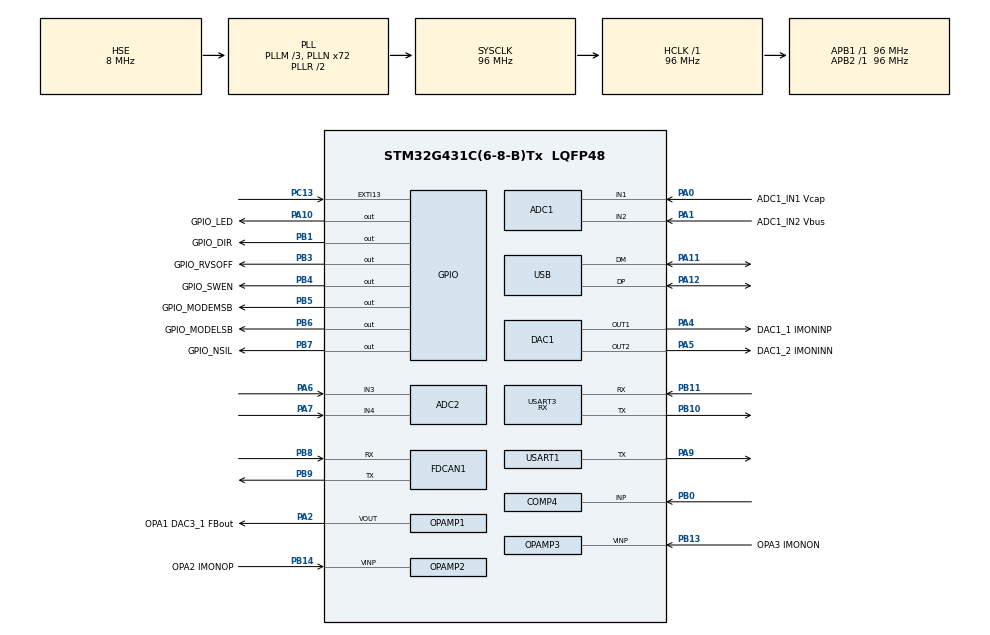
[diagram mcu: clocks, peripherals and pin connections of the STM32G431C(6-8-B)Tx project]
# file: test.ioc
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ADC1.Channel-0\#ChannelRegularConversion=ADC_CHANNEL_1
ADC1.Channel-1\#ChannelRegularConversion=ADC_CHANNEL_2
ADC1.DMAContinuousRequests=ENABLE
ADC1.EOCSelection=ADC_EOC_SINGLE_CONV
ADC1.ExternalTrigConv=ADC_EXTERNALTRIG_T2_TRGO
ADC1.NbrOfConversion=2
ADC1.NbrOfConversionFlag=1
ADC1.OffsetNumber-0\#ChannelRegularConversion=ADC_OFFSET_NONE
ADC1.OffsetNumber-1\#ChannelRegularConversion=ADC_OFFSET_NONE
ADC1.OversamplingMode=DISABLE
ADC1.Rank-0\#ChannelRegularConversion=1
ADC1.Rank-1\#ChannelRegularConversion=2
ADC1.SamplingTime-0\#ChannelRegularConversion=ADC_SAMPLETIME_92CYCLES_5
ADC1.SamplingTime-1\#ChannelRegularConversion=ADC_SAMPLETIME_92CYCLES_5
ADC1.master=1
ADC2.Channel-2\#ChannelRegularConversion=ADC_CHANNEL_3
ADC2.Channel-3\#ChannelRegularConversion=ADC_CHANNEL_VOPAMP2
ADC2.Channel-4\#ChannelRegularConversion=ADC_CHANNEL_VOPAMP3_ADC2
ADC2.DMAContinuousRequests=ENABLE
ADC2.EOCSelection=ADC_EOC_SINGLE_CONV
ADC2.ExternalTrigConv=ADC_EXTERNALTRIG_T2_TRGO
ADC2.NbrOfConversion=3
ADC2.NbrOfConversionFlag=1
ADC2.OffsetNumber-2\#ChannelRegularConversion=ADC_OFFSET_NONE
ADC2.OffsetNumber-3\#ChannelRegularConversion=ADC_OFFSET_NONE
ADC2.OffsetNumber-4\#ChannelRegularConversion=ADC_OFFSET_NONE
ADC2.Rank-2\#ChannelRegularConversion=1
ADC2.Rank-3\#ChannelRegularConversion=2
ADC2.Rank-4\#ChannelRegularConversion=3
ADC2.SamplingTime-2\#ChannelRegularConversion=ADC_SAMPLETIME_6CYCLES_5
ADC2.SamplingTime-3\#ChannelRegularConversion=ADC_SAMPLETIME_6CYCLES_5
ADC2.SamplingTime-4\#ChannelRegularConversion=ADC_SAMPLETIME_6CYCLES_5
ADC2.SingleDiff-2\#ChannelRegularConversion=ADC_DIFFERENTIAL_ENDED
DAC1.DAC_Channel-DAC_OUT2_ExtAndInt=DAC_CHANNEL_2
DAC3.DAC_Channel-DAC_OUT2_Int=DAC_CHANNEL_2
Dma.ADC1.0.Direction=DMA_PERIPH_TO_MEMORY
Dma.ADC1.0.EventEnable=DISABLE
Dma.ADC1.0.Instance=DMA1_Channel1
Dma.ADC1.0.MemDataAlignment=DMA_MDATAALIGN_HALFWORD
Dma.ADC1.0.MemInc=DMA_MINC_ENABLE
Dma.ADC1.0.Mode=DMA_CIRCULAR
Dma.ADC1.0.PeriphDataAlignment=DMA_PDATAALIGN_HALFWORD
Dma.ADC1.0.PeriphInc=DMA_PINC_DISABLE
Dma.ADC1.0.Polarity=HAL_DMAMUX_REQ_GEN_RISING
Dma.ADC1.0.Priority=DMA_PRIORITY_VERY_HIGH
Dma.ADC1.0.RequestNumber=1
Dma.ADC1.0.SignalID=NONE
Dma.ADC1.0.SyncEnable=DISABLE
Dma.ADC1.0.SyncPolarity=HAL_DMAMUX_SYNC_NO_EVENT
Dma.ADC1.0.SyncRequestNumber=1
Dma.ADC1.0.SyncSignalID=NONE
Dma.ADC2.1.Direction=DMA_PERIPH_TO_MEMORY
Dma.ADC2.1.EventEnable=DISABLE
Dma.ADC2.1.Instance=DMA1_Channel2
Dma.ADC2.1.MemDataAlignment=DMA_MDATAALIGN_HALFWORD
Dma.ADC2.1.MemInc=DMA_MINC_ENABLE
Dma.ADC2.1.Mode=DMA_CIRCULAR
Dma.ADC2.1.PeriphDataAlignment=DMA_PDATAALIGN_HALFWORD
Dma.ADC2.1.PeriphInc=DMA_PINC_DISABLE
Dma.ADC2.1.Polarity=HAL_DMAMUX_REQ_GEN_RISING
Dma.ADC2.1.Priority=DMA_PRIORITY_VERY_HIGH
Dma.ADC2.1.RequestNumber=1
Dma.ADC2.1.SignalID=NONE
Dma.ADC2.1.SyncEnable=DISABLE
Dma.ADC2.1.SyncPolarity=HAL_DMAMUX_SYNC_NO_EVENT
Dma.ADC2.1.SyncRequestNumber=1
Dma.ADC2.1.SyncSignalID=NONE
Dma.Request0=ADC1
Dma.Request1=ADC2
Dma.Request2=USART3_RX
Dma.Request3=USART1_TX
Dma.USART1_TX.3.Direction=DMA_MEMORY_TO_PERIPH
Dma.USART1_TX.3.EventEnable=DISABLE
Dma.USART1_TX.3.Instance=DMA1_Channel4
Dma.USART1_TX.3.MemDataAlignment=DMA_MDATAALIGN_BYTE
Dma.USART1_TX.3.MemInc=DMA_MINC_ENABLE
Dma.USART1_TX.3.Mode=DMA_NORMAL
Dma.USART1_TX.3.PeriphDataAlignment=DMA_PDATAALIGN_BYTE
Dma.USART1_TX.3.PeriphInc=DMA_PINC_DISABLE
Dma.USART1_TX.3.Polarity=HAL_DMAMUX_REQ_GEN_RISING
Dma.USART1_TX.3.Priority=DMA_PRIORITY_LOW
Dma.USART1_TX.3.RequestNumber=1
Dma.USART1_TX.3.SignalID=NONE
Dma.USART1_TX.3.SyncEnable=DISABLE
Dma.USART1_TX.3.SyncPolarity=HAL_DMAMUX_SYNC_NO_EVENT
Dma.USART1_TX.3.SyncRequestNumber=1
Dma.USART1_TX.3.SyncSignalID=NONE
Dma.USART3_RX.2.Direction=DMA_PERIPH_TO_MEMORY
Dma.USART3_RX.2.EventEnable=DISABLE
Dma.USART3_RX.2.Instance=DMA1_Channel3
Dma.USART3_RX.2.MemDataAlignment=DMA_MDATAALIGN_BYTE
Dma.USART3_RX.2.MemInc=DMA_MINC_ENABLE
Dma.USART3_RX.2.Mode=DMA_CIRCULAR
Dma.USART3_RX.2.PeriphDataAlignment=DMA_PDATAALIGN_BYTE
Dma.USART3_RX.2.PeriphInc=DMA_PINC_DISABLE
Dma.USART3_RX.2.Polarity=HAL_DMAMUX_REQ_GEN_RISING
Dma.USART3_RX.2.Priority=DMA_PRIORITY_MEDIUM
Dma.USART3_RX.2.RequestNumber=1
Dma.USART3_RX.2.SignalID=NONE
Dma.USART3_RX.2.SyncEnable=DISABLE
Dma.USART3_RX.2.SyncPolarity=HAL_DMAMUX_SYNC_NO_EVENT
Dma.USART3_RX.2.SyncRequestNumber=1
Dma.USART3_RX.2.SyncSignalID=NONE
FDCAN1.CalculateBaudRateNominal=1000000
FDCAN1.CalculateTimeBitNominal=1000
FDCAN1.CalculateTimeQuantumNominal=62.5
FDCAN1.NominalPrescaler=6
FDCAN1.NominalSyncJumpWidth=2
FDCAN1.NominalTimeSeg1=13
FDCAN1.NominalTimeSeg2=2
FDCAN1.StdFiltersNbr=1
FREERTOS.MEMORY_ALLOCATION=1
FREERTOS.Tasks01=defaultTask,0,128,StartDefaultTask,Default,NULL,Static,defaultTaskBuffer,defaultTaskControlBlock;usbCDCTxTask,0,256,StartUsbCDCTxTask,Default,NULL,Static,usbCDCTxTaskBuffer,usbCDCTxTaskControlBlock;telemetryTask,0,512,StartTelemetryTask,Default,NULL,Static,telemetryTaskBuffer,telemetryTaskControlBlock;slowAdcTask,-2,128,StartSlowAdcTask,Default,NULL,Static,myTask04Buffer,myTask04ControlBlock;cliTask,-2,2048,StartCliTask,Default,NULL,Static,myTask05Buffer,myTask05ControlBlock;uartParsingTask,0,256,StartUartParsingTask,Default,NULL,Static,myTask06Buffer,myTask06ControlBlock
IWDG.Reload=399
Mcu.Family=STM32G4
Mcu.Name=STM32G431C(6-8-B)Tx
Mcu.Package=LQFP48
NVIC.DMA1_Channel1_IRQn=true\:5\:0\:true\:false\:true\:true\:false\:true\:true
NVIC.DMA1_Channel2_IRQn=true\:5\:0\:false\:false\:true\:true\:false\:true\:true
NVIC.DMA1_Channel3_IRQn=true\:7\:0\:true\:false\:true\:true\:false\:true\:true
NVIC.DMA1_Channel4_IRQn=true\:5\:0\:false\:false\:true\:true\:false\:true\:true
NVIC.EXTI15_10_IRQn=true\:6\:0\:true\:false\:true\:true\:true\:true\:true
NVIC.FDCAN1_IT0_IRQn=true\:6\:0\:true\:false\:true\:true\:true\:true\:true
NVIC.PriorityGroup=NVIC_PRIORITYGROUP_4
NVIC.TIM1_UP_TIM16_IRQn=true\:15\:0\:false\:false\:true\:false\:false\:true\:true
NVIC.TimeBase=TIM1_UP_TIM16_IRQn
NVIC.TimeBaseIP=TIM1
NVIC.USART1_IRQn=true\:5\:0\:false\:false\:true\:true\:true\:true\:true
NVIC.USART3_IRQn=true\:7\:0\:true\:false\:true\:true\:true\:true\:true
NVIC.USB_LP_IRQn=true\:6\:0\:true\:false\:true\:true\:false\:true\:true
PA0.GPIO_Label=ADC1_IN1 Vcap
PA0.Mode=IN1-Single-Ended
PA0.Signal=ADC1_IN1
PA1.GPIO_Label=ADC1_IN2 Vbus
PA1.Mode=IN2-Single-Ended
PA1.Signal=ADC1_IN2
PA10.GPIO_Label=GPIO_LED
PA10.PinState=GPIO_PIN_RESET
PA10.Signal=GPIO_Output
PA11.Mode=Device
PA11.Signal=USB_DM
PA12.Mode=Device
PA12.Signal=USB_DP
PA13.Mode=Serial_Wire
PA13.Signal=SYS_JTMS-SWDIO
PA14.Mode=Serial_Wire
PA14.Signal=SYS_JTCK-SWCLK
PA2.GPIO_Label=OPA1 DAC3_1 FBout
PA2.Mode=Follower-DAC_OUT2-INP
PA2.Signal=OPAMP1_VOUT
PA4.GPIO_Label=DAC1_1 IMONINP
PA4.Signal=COMP_DAC11_group
PA5.GPIO_Label=DAC1_2 IMONINN
PA5.Signal=COMP_DAC12_group
PA6.Mode=IN3-Differential
PA6.Signal=ADC2_IN3
PA7.Mode=IN3-Differential
PA7.Signal=ADC2_IN4
PA9.GPIO_ModeDefaultOD=GPIO_MODE_AF_OD
PA9.GPIO_PuPd=GPIO_PULLUP
PA9.GPIO_Speed=GPIO_SPEED_FREQ_MEDIUM
PA9.Mode=Half_duplex(single_wire_mode)
PA9.Signal=USART1_TX
PB0.Mode=INP
PB0.Signal=COMP4_INP
PB1.GPIO_Label=GPIO_DIR
PB1.GPIO_Speed=GPIO_SPEED_FREQ_HIGH
PB1.PinState=GPIO_PIN_SET
PB1.Signal=GPIO_Output
PB10.Mode=Asynchronous
PB10.Signal=USART3_TX
PB11.Mode=Asynchronous
PB11.Signal=USART3_RX
PB13.GPIO_Label=OPA3 IMONON
PB13.Mode=PGA_Internally_Connected
PB13.Signal=OPAMP3_VINP
PB14.GPIO_Label=OPA2 IMONOP
PB14.Mode=PGA_Internally_Connected
PB14.Signal=OPAMP2_VINP
PB3.GPIO_Label=GPIO_RVSOFF
PB3.GPIO_ModeDefaultOutputPP=GPIO_MODE_OUTPUT_OD
PB3.GPIO_PuPd=GPIO_NOPULL
PB3.PinState=GPIO_PIN_SET
PB3.Signal=GPIO_Output
PB4.GPIO_Label=GPIO_SWEN
PB4.Signal=GPIO_Output
PB5.GPIO_Label=GPIO_MODEMSB
PB5.Signal=GPIO_Output
PB6.GPIO_Label=GPIO_MODELSB
PB6.PinState=GPIO_PIN_SET
PB6.Signal=GPIO_Output
PB7.GPIO_Label=GPIO_NSIL
PB7.PinState=GPIO_PIN_SET
PB7.Signal=GPIO_Output
PB8-BOOT0.Mode=FDCAN_Activate
PB8-BOOT0.Signal=FDCAN1_RX
PB9.Mode=FDCAN_Activate
PB9.Signal=FDCAN1_TX
PC13.GPIO_PuPd=GPIO_PULLDOWN
PC13.Signal=GPXTI13
PF0-OSC_IN.Mode=HSE-External-Oscillator
PF0-OSC_IN.Signal=RCC_OSC_IN
PF1-OSC_OUT.Mode=HSE-External-Oscillator
PF1-OSC_OUT.Signal=RCC_OSC_OUT
ProjectManager.HeapSize=0x200
ProjectManager.StackSize=0x400
ProjectManager.TargetToolchain=CMake
RCC.ADC12Freq_Value=96000000
RCC.AHBFreq_Value=96000000
RCC.APB1Freq_Value=96000000
RCC.APB1TimFreq_Value=96000000
RCC.APB2Freq_Value=96000000
RCC.APB2TimFreq_Value=96000000
RCC.CortexFreq_Value=96000000
RCC.EXTERNAL_CLOCK_VALUE=12288000
RCC.HCLKFreq_Value=96000000
RCC.HSE_VALUE=8000000
RCC.HSI48_VALUE=48000000
RCC.HSI_VALUE=16000000
RCC.LSE_VALUE=32768
RCC.PLLM=RCC_PLLM_DIV3
RCC.PLLN=72
RCC.PLLQ=RCC_PLLQ_DIV4
RCC.PLLSourceVirtual=RCC_PLLSOURCE_HSE
RCC.SYSCLKFreq_VALUE=96000000
RCC.SYSCLKSource=RCC_SYSCLKSOURCE_PLLCLK
RCC.USBFreq_Value=48000000
RCC.VCOOutputFreq_Value=192000000
SH.COMP_DAC11_group.0=DAC1_OUT1,DAC_OUT1_ExtAndInt
SH.COMP_DAC12_group.0=DAC1_OUT2,DAC_OUT2_ExtAndInt
TIM2.Channel-PWM\ Generation2\ No\ Output=TIM_CHANNEL_2
TIM2.OC2Preload_PWM=DISABLE
TIM2.PeriodNoDither=1919
TIM2.PulseNoDither_2=1
TIM2.TIM_MasterOutputTrigger=TIM_TRGO_OC2REF
USART1.BaudRate=921600
USART1.Mode=MODE_TX
USART1.VirtualMode-Half_duplex(single_wire_mode)=VM_ASYNC
USART3.Mode=MODE_RX
USART3.VirtualMode-Asynchronous=VM_ASYNC
USB_DEVICE.CLASS_NAME_FS=CDC
USB_DEVICE.USBD_DEBUG_LEVEL=0
USB_DEVICE.USBD_MAX_NUM_CONFIGURATION=1
USB_DEVICE.USBD_MAX_NUM_INTERFACES=1
USB_DEVICE.VirtualMode=Cdc
USB_DEVICE.VirtualModeFS=Cdc_FS
VP_ADC2_OPAMP_INTERNAL2.Mode=IN-OPAMP2
VP_ADC2_OPAMP_INTERNAL3.Mode=IN-OPAMP3
VP_COMP4_VS_DAC3OUT2.Mode=INM_DAC3OUT2
VP_DAC3_VS_DACI1.Mode=DAC_OUT1_Int
VP_DAC3_VS_DACI2.Mode=DAC_OUT2_Int
VP_FREERTOS_VS_CMSIS_V1.Mode=CMSIS_V1
VP_IWDG_VS_IWDG.Mode=IWDG_Activate
VP_SYS_VS_DBSignals.Mode=DisableDeadBatterySignals
VP_SYS_VS_tim1.Mode=TIM1
VP_SYS_V_VREFBUF.Mode=ExternalMode
VP_TIM2_VS_ClockSourceINT.Mode=Internal
VP_TIM2_VS_no_output2.Mode=PWM Generation2 No Output
VP_USB_DEVICE_VS_USB_DEVICE_CDC_FS.Mode=CDC_FS
board=custom

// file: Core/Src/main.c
/* USER CODE BEGIN Header */
/**
  ******************************************************************************
  * @file           : main.c
  * @brief          : Main program body
  ******************************************************************************
  * @attention
  *
  * Copyright (c) 2026 STMicroelectronics.
  * All rights reserved.
  *
  * This software is licensed under terms that can be found in the LICENSE file
  * in the root directory of this software component.
  * If no LICENSE file comes with this software, it is provided AS-IS.
  *
  ******************************************************************************
  */
/* USER CODE END Header */
#include "main.h"
#include "cmsis_os.h"
#include "usb_device.h"

/* USER CODE BEGIN Includes */
#include <stdbool.h>
#include <stdio.h>

#include "task_dbg_over_usb.h"
#include "usb_cli.h"
#include "app_constants.h"
#include "can_protocol.h"
#include "capacitor_monitor.h"
#include "command_inputs.h"
#include "shared_state.h"
#include "telemetry_uart.h"
#include "telemetry_slow_adc_task.h"
#include "referee_uart.h"
#include "nvm_eeprom.h"
#include "stm32g4xx_ll_dac.h"
#include "scap_io_owner.h"
#include "app_watchdog.h"

/* USER CODE END Includes */

ADC_HandleTypeDef hadc1;
ADC_HandleTypeDef hadc2;
DMA_HandleTypeDef hdma_adc1;
DMA_HandleTypeDef hdma_adc2;

COMP_HandleTypeDef hcomp4;

DAC_HandleTypeDef hdac1;
DAC_HandleTypeDef hdac3;

FDCAN_HandleTypeDef hfdcan1;

IWDG_HandleTypeDef hiwdg;

OPAMP_HandleTypeDef hopamp1;
OPAMP_HandleTypeDef hopamp2;
OPAMP_HandleTypeDef hopamp3;

TIM_HandleTypeDef htim2;

UART_HandleTypeDef huart1;
UART_HandleTypeDef huart3;
DMA_HandleTypeDef hdma_usart1_tx;
DMA_HandleTypeDef hdma_usart3_rx;

osThreadId defaultTaskHandle;
uint32_t defaultTaskBuffer[ 128 ];
osStaticThreadDef_t defaultTaskControlBlock;
osThreadId usbCDCTxTaskHandle;
uint32_t usbCDCTxTaskBuffer[ 256 ];
osStaticThreadDef_t usbCDCTxTaskControlBlock;
osThreadId telemetryTaskHandle;
uint32_t telemetryTaskBuffer[ 512 ];
osStaticThreadDef_t telemetryTaskControlBlock;
osThreadId slowAdcTaskHandle;
uint32_t myTask04Buffer[ 128 ];
osStaticThreadDef_t myTask04ControlBlock;
osThreadId cliTaskHandle;
uint32_t myTask05Buffer[ 2048 ];
osStaticThreadDef_t myTask05ControlBlock;
osThreadId uartParsingTaskHandle;
uint32_t myTask06Buffer[ 256 ];
osStaticThreadDef_t myTask06ControlBlock;

void SystemClock_Config(void);
static void MX_GPIO_Init(void);
static void MX_DMA_Init(void);
static void MX_ADC1_Init(void);
static void MX_ADC2_Init(void);
static void MX_FDCAN1_Init(void);
static void MX_DAC1_Init(void);
static void MX_DAC3_Init(void);
static void MX_OPAMP1_Init(void);
static void MX_OPAMP2_Init(void);
static void MX_OPAMP3_Init(void);
static void MX_COMP4_Init(void);
static void MX_TIM2_Init(void);
static void MX_USART3_UART_Init(void);
static void MX_USART1_UART_Init(void);
static void MX_IWDG_Init(void);
void StartDefaultTask(void const * argument);
void StartUsbCDCTxTask(void const * argument);
void StartTelemetryTask(void const * argument);
void StartSlowAdcTask(void const * argument);
void StartCliTask(void const * argument);
void StartUartParsingTask(void const * argument);

/* USER CODE BEGIN 0 */
static void CycleCountWatchdog_Init(void)
{
  CoreDebug->DEMCR |= CoreDebug_DEMCR_TRCENA_Msk;
  DWT->CYCCNT = 0U;
  DWT->CTRL |= DWT_CTRL_CYCCNTENA_Msk;
}

static void AppDac3_InitDefaults(void)
{
  (void)HAL_DAC_SetValue(&hdac3, DAC_CHANNEL_1, DAC_ALIGN_12B_R, DAC3_CH1_BOOT_U12);
  (void)HAL_DAC_SetValue(&hdac3, DAC_CHANNEL_2, DAC_ALIGN_12B_R, DAC3_CH2_BOOT_U12);
  (void)HAL_DAC_SetValue(&hdac1, DAC_CHANNEL_1, DAC_ALIGN_12B_R, 2500u);
  (void)HAL_DAC_SetValue(&hdac1, DAC_CHANNEL_2, DAC_ALIGN_12B_R, 2500u);
}

/* USER CODE END 0 */

int main(void)
{

  /* USER CODE BEGIN 1 */
  const bool was_iwdg_reset = (__HAL_RCC_GET_FLAG(RCC_FLAG_IWDGRST) != RESET);
  __HAL_RCC_CLEAR_RESET_FLAGS();
  if (was_iwdg_reset){while (1){}}//hang forever
  /* USER CODE END 1 */

  /* MCU Configuration--------------------------------------------------------*/

  /* Reset of all peripherals, Initializes the Flash interface and the Systick. */
  HAL_Init();

  /* Configure the system clock */
  SystemClock_Config();

  /* USER CODE BEGIN SysInit */
  (void)NvmEeprom_Init();
  AppConstants_InitFromNvm();

  /* USER CODE END SysInit */

  /* Initialize all configured peripherals */
  MX_GPIO_Init();
  MX_DMA_Init();
  MX_ADC1_Init();
  MX_ADC2_Init();
  MX_FDCAN1_Init();
  MX_DAC1_Init();
  MX_DAC3_Init();
  MX_OPAMP1_Init();
  MX_OPAMP2_Init();
  MX_OPAMP3_Init();
  MX_COMP4_Init();
  MX_TIM2_Init();
  MX_USART3_UART_Init();
  MX_USART1_UART_Init();
  MX_IWDG_Init();
  /* USER CODE BEGIN 2 */
  AppWatchdog_Init(&hiwdg);
  CapacitorMonitor_Init();
  ScapIo_Init();
  CycleCountWatchdog_Init();
  DbgUsb_Init();
  TelemetryUart_Init(&huart1);
  UsbCli_Init();
#if USE_HAL_FDCAN_REGISTER_CALLBACKS == 1
  if (HAL_FDCAN_RegisterRxFifo0Callback(&hfdcan1, HAL_FDCAN_RxFifo0Callback) != HAL_OK)
  {
    Error_Handler();
  }
#endif
  if (HAL_FDCAN_ConfigInterruptLines(&hfdcan1, FDCAN_IT_GROUP_RX_FIFO0, FDCAN_INTERRUPT_LINE0) != HAL_OK)
  {
    Error_Handler();
  }
  if (HAL_FDCAN_ConfigInterruptLines(&hfdcan1, FDCAN_IT_GROUP_PROTOCOL_ERROR, FDCAN_INTERRUPT_LINE0) != HAL_OK)
  {
    Error_Handler();
  }
  if (HAL_FDCAN_ActivateNotification(&hfdcan1,
                                      FDCAN_IT_RX_FIFO0_NEW_MESSAGE | FDCAN_IT_BUS_OFF,
                                      0u) != HAL_OK)
  {
    Error_Handler();
  }
  if (HAL_FDCAN_Start(&hfdcan1) != HAL_OK)
  {
    Error_Handler();
  }
  if (HAL_DAC_Start(&hdac1, DAC_CHANNEL_1) != HAL_OK)
  {
    Error_Handler();
  }
  if (HAL_DAC_Start(&hdac1, DAC_CHANNEL_2) != HAL_OK)
  {
    Error_Handler();
  }
  if (HAL_DAC_Start(&hdac3, DAC_CHANNEL_1) != HAL_OK)
  {
    Error_Handler();
  }
  if (HAL_DAC_Start(&hdac3, DAC_CHANNEL_2) != HAL_OK)
  {
    Error_Handler();
  }
  AppDac3_InitDefaults();
  if (HAL_OPAMP_Start(&hopamp1) != HAL_OK)
  {
    Error_Handler();
  }
  if (HAL_OPAMP_Start(&hopamp2) != HAL_OK)
  {
    Error_Handler();
  }
  if (HAL_OPAMP_Start(&hopamp3) != HAL_OK)
  {
    Error_Handler();
  }
  if (HAL_COMP_Start(&hcomp4) != HAL_OK)
  {
    Error_Handler();
  }

  if (HAL_ADCEx_Calibration_Start(&hadc1, ADC_SINGLE_ENDED) != HAL_OK)
  {
    Error_Handler();
  }
  if (HAL_ADCEx_Calibration_Start(&hadc2, ADC_SINGLE_ENDED) != HAL_OK)
  {
    Error_Handler();
  }
  if (HAL_ADCEx_Calibration_Start(&hadc2, ADC_DIFFERENTIAL_ENDED) != HAL_OK)
  {
    Error_Handler();
  }

  if (HAL_ADC_Start_DMA(&hadc2, (uint32_t *)g_adc2_dma_buf, 3) != HAL_OK)
  {
    Error_Handler();
  }
  __HAL_DMA_DISABLE_IT(&hdma_adc2, DMA_IT_TC | DMA_IT_HT);
  HAL_NVIC_ClearPendingIRQ(DMA1_Channel2_IRQn);
  HAL_NVIC_DisableIRQ(DMA1_Channel2_IRQn);

  if (HAL_ADC_Start_DMA(&hadc1, (uint32_t *)g_adc1_dma_buf, 2) != HAL_OK)
  {
    Error_Handler();
  }
  __HAL_DMA_DISABLE_IT(&hdma_adc1, DMA_IT_HT);

  if (HAL_TIM_Base_Start(&htim2) != HAL_OK)
  {
    Error_Handler();
  }
  if (HAL_TIM_PWM_Start(&htim2, TIM_CHANNEL_2) != HAL_OK)
  {
    Error_Handler();
  }

  /* USER CODE END 2 */

  /* Create the thread(s) */
  /* definition and creation of defaultTask */
  osThreadStaticDef(defaultTask, StartDefaultTask, osPriorityNormal, 0, 128, defaultTaskBuffer, &defaultTaskControlBlock);
  defaultTaskHandle = osThreadCreate(osThread(defaultTask), NULL);

  /* definition and creation of usbCDCTxTask */
  osThreadStaticDef(usbCDCTxTask, StartUsbCDCTxTask, osPriorityNormal, 0, 256, usbCDCTxTaskBuffer, &usbCDCTxTaskControlBlock);
  usbCDCTxTaskHandle = osThreadCreate(osThread(usbCDCTxTask), NULL);

  /* definition and creation of telemetryTask */
  osThreadStaticDef(telemetryTask, StartTelemetryTask, osPriorityNormal, 0, 512, telemetryTaskBuffer, &telemetryTaskControlBlock);
  telemetryTaskHandle = osThreadCreate(osThread(telemetryTask), NULL);

  /* definition and creation of slowAdcTask */
  osThreadStaticDef(slowAdcTask, StartSlowAdcTask, osPriorityLow, 0, 128, myTask04Buffer, &myTask04ControlBlock);
  slowAdcTaskHandle = osThreadCreate(osThread(slowAdcTask), NULL);

  /* definition and creation of cliTask */
  osThreadStaticDef(cliTask, StartCliTask, osPriorityLow, 0, 2048, myTask05Buffer, &myTask05ControlBlock);
  cliTaskHandle = osThreadCreate(osThread(cliTask), NULL);

  /* definition and creation of uartParsingTask */
  osThreadStaticDef(uartParsingTask, StartUartParsingTask, osPriorityNormal, 0, 256, myTask06Buffer, &myTask06ControlBlock);
  uartParsingTaskHandle = osThreadCreate(osThread(uartParsingTask), NULL);

  /* USER CODE BEGIN RTOS_THREADS */
  AppWatchdog_RefreshBeforeScheduler();
  /* USER CODE END RTOS_THREADS */

  /* Start scheduler */
  osKernelStart();

  /* We should never get here as control is now taken by the scheduler */

  /* Infinite loop */
  while (1)
  {

  }
}

void SystemClock_Config(void)
{
  RCC_OscInitTypeDef RCC_OscInitStruct = {0};
  RCC_ClkInitTypeDef RCC_ClkInitStruct = {0};

  /** Configure the main internal regulator output voltage
  */
  HAL_PWREx_ControlVoltageScaling(PWR_REGULATOR_VOLTAGE_SCALE1);

  /** Initializes the RCC Oscillators according to the specified parameters
  * in the RCC_OscInitTypeDef structure.
  */
  RCC_OscInitStruct.OscillatorType = RCC_OSCILLATORTYPE_LSI|RCC_OSCILLATORTYPE_HSE;
  RCC_OscInitStruct.HSEState = RCC_HSE_ON;
  RCC_OscInitStruct.LSIState = RCC_LSI_ON;
  RCC_OscInitStruct.PLL.PLLState = RCC_PLL_ON;
  RCC_OscInitStruct.PLL.PLLSource = RCC_PLLSOURCE_HSE;
  RCC_OscInitStruct.PLL.PLLM = RCC_PLLM_DIV3;
  RCC_OscInitStruct.PLL.PLLN = 72;
  RCC_OscInitStruct.PLL.PLLP = RCC_PLLP_DIV2;
  RCC_OscInitStruct.PLL.PLLQ = RCC_PLLQ_DIV4;
  RCC_OscInitStruct.PLL.PLLR = RCC_PLLR_DIV2;
  if (HAL_RCC_OscConfig(&RCC_OscInitStruct) != HAL_OK)
  {
    Error_Handler();
  }

  /** Initializes the CPU, AHB and APB buses clocks
  */
  RCC_ClkInitStruct.ClockType = RCC_CLOCKTYPE_HCLK|RCC_CLOCKTYPE_SYSCLK
                              |RCC_CLOCKTYPE_PCLK1|RCC_CLOCKTYPE_PCLK2;
  RCC_ClkInitStruct.SYSCLKSource = RCC_SYSCLKSOURCE_PLLCLK;
  RCC_ClkInitStruct.AHBCLKDivider = RCC_SYSCLK_DIV1;
  RCC_ClkInitStruct.APB1CLKDivider = RCC_HCLK_DIV1;
  RCC_ClkInitStruct.APB2CLKDivider = RCC_HCLK_DIV1;

  if (HAL_RCC_ClockConfig(&RCC_ClkInitStruct, FLASH_LATENCY_3) != HAL_OK)
  {
    Error_Handler();
  }
}

static void MX_ADC1_Init(void)
{

  ADC_MultiModeTypeDef multimode = {0};
  ADC_ChannelConfTypeDef sConfig = {0};

  /** Common config
  */
  hadc1.Instance = ADC1;
  hadc1.Init.ClockPrescaler = ADC_CLOCK_SYNC_PCLK_DIV2;
  hadc1.Init.Resolution = ADC_RESOLUTION_12B;
  hadc1.Init.DataAlign = ADC_DATAALIGN_RIGHT;
  hadc1.Init.GainCompensation = 0;
  hadc1.Init.ScanConvMode = ADC_SCAN_ENABLE;
  hadc1.Init.EOCSelection = ADC_EOC_SINGLE_CONV;
  hadc1.Init.LowPowerAutoWait = DISABLE;
  hadc1.Init.ContinuousConvMode = DISABLE;
  hadc1.Init.NbrOfConversion = 2;
  hadc1.Init.DiscontinuousConvMode = DISABLE;
  hadc1.Init.ExternalTrigConv = ADC_EXTERNALTRIG_T2_TRGO;
  hadc1.Init.ExternalTrigConvEdge = ADC_EXTERNALTRIGCONVEDGE_RISING;
  hadc1.Init.DMAContinuousRequests = ENABLE;
  hadc1.Init.Overrun = ADC_OVR_DATA_PRESERVED;
  hadc1.Init.OversamplingMode = DISABLE;
  if (HAL_ADC_Init(&hadc1) != HAL_OK)
  {
    Error_Handler();
  }

  /** Configure the ADC multi-mode
  */
  multimode.Mode = ADC_MODE_INDEPENDENT;
  if (HAL_ADCEx_MultiModeConfigChannel(&hadc1, &multimode) != HAL_OK)
  {
    Error_Handler();
  }

  /** Configure Regular Channel
  */
  sConfig.Channel = ADC_CHANNEL_1;
  sConfig.Rank = ADC_REGULAR_RANK_1;
  sConfig.SamplingTime = ADC_SAMPLETIME_92CYCLES_5;
  sConfig.SingleDiff = ADC_SINGLE_ENDED;
  sConfig.OffsetNumber = ADC_OFFSET_NONE;
  sConfig.Offset = 0;
  if (HAL_ADC_ConfigChannel(&hadc1, &sConfig) != HAL_OK)
  {
    Error_Handler();
  }

  /** Configure Regular Channel
  */
  sConfig.Channel = ADC_CHANNEL_2;
  sConfig.Rank = ADC_REGULAR_RANK_2;
  if (HAL_ADC_ConfigChannel(&hadc1, &sConfig) != HAL_OK)
  {
    Error_Handler();
  }

}

static void MX_ADC2_Init(void)
{

  ADC_ChannelConfTypeDef sConfig = {0};

  /** Common config
  */
  hadc2.Instance = ADC2;
  hadc2.Init.ClockPrescaler = ADC_CLOCK_SYNC_PCLK_DIV2;
  hadc2.Init.Resolution = ADC_RESOLUTION_12B;
  hadc2.Init.DataAlign = ADC_DATAALIGN_RIGHT;
  hadc2.Init.GainCompensation = 0;
  hadc2.Init.ScanConvMode = ADC_SCAN_ENABLE;
  hadc2.Init.EOCSelection = ADC_EOC_SINGLE_CONV;
  hadc2.Init.LowPowerAutoWait = DISABLE;
  hadc2.Init.ContinuousConvMode = DISABLE;
  hadc2.Init.NbrOfConversion = 3;
  hadc2.Init.DiscontinuousConvMode = DISABLE;
  hadc2.Init.ExternalTrigConv = ADC_EXTERNALTRIG_T2_TRGO;
  hadc2.Init.ExternalTrigConvEdge = ADC_EXTERNALTRIGCONVEDGE_RISING;
  hadc2.Init.DMAContinuousRequests = ENABLE;
  hadc2.Init.Overrun = ADC_OVR_DATA_PRESERVED;
  hadc2.Init.OversamplingMode = DISABLE;
  if (HAL_ADC_Init(&hadc2) != HAL_OK)
  {
    Error_Handler();
  }

  /** Configure Regular Channel
  */
  sConfig.Channel = ADC_CHANNEL_3;
  sConfig.Rank = ADC_REGULAR_RANK_1;
  sConfig.SamplingTime = ADC_SAMPLETIME_6CYCLES_5;
  sConfig.SingleDiff = ADC_DIFFERENTIAL_ENDED;
  sConfig.OffsetNumber = ADC_OFFSET_NONE;
  sConfig.Offset = 0;
  if (HAL_ADC_ConfigChannel(&hadc2, &sConfig) != HAL_OK)
  {
    Error_Handler();
  }

  /** Configure Regular Channel
  */
  sConfig.Channel = ADC_CHANNEL_VOPAMP2;
  sConfig.Rank = ADC_REGULAR_RANK_2;
  sConfig.SingleDiff = ADC_SINGLE_ENDED;
  if (HAL_ADC_ConfigChannel(&hadc2, &sConfig) != HAL_OK)
  {
    Error_Handler();
  }

  /** Configure Regular Channel
  */
  sConfig.Channel = ADC_CHANNEL_VOPAMP3_ADC2;
  sConfig.Rank = ADC_REGULAR_RANK_3;
  if (HAL_ADC_ConfigChannel(&hadc2, &sConfig) != HAL_OK)
  {
    Error_Handler();
  }

}

static void MX_COMP4_Init(void)
{

  hcomp4.Instance = COMP4;
  hcomp4.Init.InputPlus = COMP_INPUT_PLUS_IO1;
  hcomp4.Init.InputMinus = COMP_INPUT_MINUS_DAC3_CH2;
  hcomp4.Init.OutputPol = COMP_OUTPUTPOL_NONINVERTED;
  hcomp4.Init.Hysteresis = COMP_HYSTERESIS_NONE;
  hcomp4.Init.BlankingSrce = COMP_BLANKINGSRC_NONE;
  hcomp4.Init.TriggerMode = COMP_TRIGGERMODE_NONE;
  if (HAL_COMP_Init(&hcomp4) != HAL_OK)
  {
    Error_Handler();
  }

}

static void MX_DAC1_Init(void)
{

  DAC_ChannelConfTypeDef sConfig = {0};

  /** DAC Initialization
  */
  hdac1.Instance = DAC1;
  if (HAL_DAC_Init(&hdac1) != HAL_OK)
  {
    Error_Handler();
  }

  /** DAC channel OUT1 config
  */
  sConfig.DAC_HighFrequency = DAC_HIGH_FREQUENCY_INTERFACE_MODE_AUTOMATIC;
  sConfig.DAC_DMADoubleDataMode = DISABLE;
  sConfig.DAC_SignedFormat = DISABLE;
  sConfig.DAC_SampleAndHold = DAC_SAMPLEANDHOLD_DISABLE;
  sConfig.DAC_Trigger = DAC_TRIGGER_NONE;
  sConfig.DAC_Trigger2 = DAC_TRIGGER_NONE;
  sConfig.DAC_OutputBuffer = DAC_OUTPUTBUFFER_ENABLE;
  sConfig.DAC_ConnectOnChipPeripheral = DAC_CHIPCONNECT_BOTH;
  sConfig.DAC_UserTrimming = DAC_TRIMMING_FACTORY;
  if (HAL_DAC_ConfigChannel(&hdac1, &sConfig, DAC_CHANNEL_1) != HAL_OK)
  {
    Error_Handler();
  }

  /** DAC channel OUT2 config
  */
  if (HAL_DAC_ConfigChannel(&hdac1, &sConfig, DAC_CHANNEL_2) != HAL_OK)
  {
    Error_Handler();
  }

}

static void MX_DAC3_Init(void)
{

  DAC_ChannelConfTypeDef sConfig = {0};

  /** DAC Initialization
  */
  hdac3.Instance = DAC3;
  if (HAL_DAC_Init(&hdac3) != HAL_OK)
  {
    Error_Handler();
  }

  /** DAC channel OUT1 config
  */
  sConfig.DAC_HighFrequency = DAC_HIGH_FREQUENCY_INTERFACE_MODE_AUTOMATIC;
  sConfig.DAC_DMADoubleDataMode = DISABLE;
  sConfig.DAC_SignedFormat = DISABLE;
  sConfig.DAC_SampleAndHold = DAC_SAMPLEANDHOLD_DISABLE;
  sConfig.DAC_Trigger = DAC_TRIGGER_NONE;
  sConfig.DAC_Trigger2 = DAC_TRIGGER_NONE;
  sConfig.DAC_OutputBuffer = DAC_OUTPUTBUFFER_DISABLE;
  sConfig.DAC_ConnectOnChipPeripheral = DAC_CHIPCONNECT_INTERNAL;
  sConfig.DAC_UserTrimming = DAC_TRIMMING_FACTORY;
  if (HAL_DAC_ConfigChannel(&hdac3, &sConfig, DAC_CHANNEL_1) != HAL_OK)
  {
    Error_Handler();
  }

  /** DAC channel OUT2 config
  */
  if (HAL_DAC_ConfigChannel(&hdac3, &sConfig, DAC_CHANNEL_2) != HAL_OK)
  {
    Error_Handler();
  }

}

static void MX_FDCAN1_Init(void)
{

  hfdcan1.Instance = FDCAN1;
  hfdcan1.Init.ClockDivider = FDCAN_CLOCK_DIV1;
  hfdcan1.Init.FrameFormat = FDCAN_FRAME_CLASSIC;
  hfdcan1.Init.Mode = FDCAN_MODE_NORMAL;
  hfdcan1.Init.AutoRetransmission = DISABLE;
  hfdcan1.Init.TransmitPause = DISABLE;
  hfdcan1.Init.ProtocolException = DISABLE;
  hfdcan1.Init.NominalPrescaler = 6;
  hfdcan1.Init.NominalSyncJumpWidth = 2;
  hfdcan1.Init.NominalTimeSeg1 = 13;
  hfdcan1.Init.NominalTimeSeg2 = 2;
  hfdcan1.Init.DataPrescaler = 1;
  hfdcan1.Init.DataSyncJumpWidth = 1;
  hfdcan1.Init.DataTimeSeg1 = 1;
  hfdcan1.Init.DataTimeSeg2 = 1;
  hfdcan1.Init.StdFiltersNbr = 1;
  hfdcan1.Init.ExtFiltersNbr = 0;
  hfdcan1.Init.TxFifoQueueMode = FDCAN_TX_FIFO_OPERATION;
  if (HAL_FDCAN_Init(&hfdcan1) != HAL_OK)
  {
    Error_Handler();
  }
  /* USER CODE BEGIN FDCAN1_Init 2 */
  /*
   * Accept only SUPERCAP_NODE_ID; reject everything else.
   * Must be called before HAL_FDCAN_Start().
   */
  if (HAL_FDCAN_ConfigGlobalFilter(&hfdcan1,
                                  FDCAN_ACCEPT_IN_RX_FIFO1, /* NonMatchingStd */
                                  FDCAN_ACCEPT_IN_RX_FIFO1, /* NonMatchingExt */
                                  FDCAN_REJECT_REMOTE,  /* RejectRemoteStd */
                                  FDCAN_REJECT_REMOTE   /* RejectRemoteExt */
                                  ) != HAL_OK)
  {
    Error_Handler();
  }

  FDCAN_FilterTypeDef filter = {0};
  filter.IdType = FDCAN_STANDARD_ID;
  filter.FilterType = FDCAN_FILTER_MASK;
  filter.FilterConfig = FDCAN_FILTER_TO_RXFIFO0;
  filter.FilterID2 = 0x7FF; /* exact match mask for 11-bit IDs */

  filter.FilterIndex = 0;
  filter.FilterID1 = SUPERCAP_NODE_ID;
  if (HAL_FDCAN_ConfigFilter(&hfdcan1, &filter) != HAL_OK)
  {
    Error_Handler();
  }

  /* USER CODE END FDCAN1_Init 2 */

}

static void MX_IWDG_Init(void)
{

  hiwdg.Instance = IWDG;
  hiwdg.Init.Prescaler = IWDG_PRESCALER_4;
  hiwdg.Init.Window = 4095;
  hiwdg.Init.Reload = 399;
  if (HAL_IWDG_Init(&hiwdg) != HAL_OK)
  {
    Error_Handler();
  }

}

static void MX_OPAMP1_Init(void)
{

  hopamp1.Instance = OPAMP1;
  hopamp1.Init.PowerMode = OPAMP_POWERMODE_NORMALSPEED;
  hopamp1.Init.Mode = OPAMP_FOLLOWER_MODE;
  hopamp1.Init.NonInvertingInput = OPAMP_NONINVERTINGINPUT_DAC;
  hopamp1.Init.InternalOutput = DISABLE;
  hopamp1.Init.TimerControlledMuxmode = OPAMP_TIMERCONTROLLEDMUXMODE_DISABLE;
  hopamp1.Init.UserTrimming = OPAMP_TRIMMING_FACTORY;
  if (HAL_OPAMP_Init(&hopamp1) != HAL_OK)
  {
    Error_Handler();
  }

}

static void MX_OPAMP2_Init(void)
{

  hopamp2.Instance = OPAMP2;
  hopamp2.Init.PowerMode = OPAMP_POWERMODE_NORMALSPEED;
  hopamp2.Init.Mode = OPAMP_PGA_MODE;
  hopamp2.Init.NonInvertingInput = OPAMP_NONINVERTINGINPUT_IO1;
  hopamp2.Init.InternalOutput = ENABLE;
  hopamp2.Init.TimerControlledMuxmode = OPAMP_TIMERCONTROLLEDMUXMODE_DISABLE;
  hopamp2.Init.PgaConnect = OPAMP_PGA_CONNECT_INVERTINGINPUT_NO;
  hopamp2.Init.PgaGain = OPAMP_PGA_GAIN_2_OR_MINUS_1;
  hopamp2.Init.UserTrimming = OPAMP_TRIMMING_FACTORY;
  if (HAL_OPAMP_Init(&hopamp2) != HAL_OK)
  {
    Error_Handler();
  }

}

static void MX_OPAMP3_Init(void)
{

  hopamp3.Instance = OPAMP3;
  hopamp3.Init.PowerMode = OPAMP_POWERMODE_NORMALSPEED;
  hopamp3.Init.Mode = OPAMP_PGA_MODE;
  hopamp3.Init.NonInvertingInput = OPAMP_NONINVERTINGINPUT_IO1;
  hopamp3.Init.InternalOutput = ENABLE;
  hopamp3.Init.TimerControlledMuxmode = OPAMP_TIMERCONTROLLEDMUXMODE_DISABLE;
  hopamp3.Init.PgaConnect = OPAMP_PGA_CONNECT_INVERTINGINPUT_NO;
  hopamp3.Init.PgaGain = OPAMP_PGA_GAIN_2_OR_MINUS_1;
  hopamp3.Init.UserTrimming = OPAMP_TRIMMING_FACTORY;
  if (HAL_OPAMP_Init(&hopamp3) != HAL_OK)
  {
    Error_Handler();
  }

}

static void MX_TIM2_Init(void)
{

  TIM_ClockConfigTypeDef sClockSourceConfig = {0};
  TIM_MasterConfigTypeDef sMasterConfig = {0};
  TIM_OC_InitTypeDef sConfigOC = {0};

  htim2.Instance = TIM2;
  htim2.Init.Prescaler = 0;
  htim2.Init.CounterMode = TIM_COUNTERMODE_UP;
  htim2.Init.Period = 1919;
  htim2.Init.ClockDivision = TIM_CLOCKDIVISION_DIV1;
  htim2.Init.AutoReloadPreload = TIM_AUTORELOAD_PRELOAD_DISABLE;
  if (HAL_TIM_Base_Init(&htim2) != HAL_OK)
  {
    Error_Handler();
  }
  sClockSourceConfig.ClockSource = TIM_CLOCKSOURCE_INTERNAL;
  if (HAL_TIM_ConfigClockSource(&htim2, &sClockSourceConfig) != HAL_OK)
  {
    Error_Handler();
  }
  if (HAL_TIM_PWM_Init(&htim2) != HAL_OK)
  {
    Error_Handler();
  }
  sMasterConfig.MasterOutputTrigger = TIM_TRGO_OC2REF;
  sMasterConfig.MasterSlaveMode = TIM_MASTERSLAVEMODE_DISABLE;
  if (HAL_TIMEx_MasterConfigSynchronization(&htim2, &sMasterConfig) != HAL_OK)
  {
    Error_Handler();
  }
  sConfigOC.OCMode = TIM_OCMODE_PWM1;
  sConfigOC.Pulse = 1;
  sConfigOC.OCPolarity = TIM_OCPOLARITY_HIGH;
  sConfigOC.OCFastMode = TIM_OCFAST_DISABLE;
  if (HAL_TIM_PWM_ConfigChannel(&htim2, &sConfigOC, TIM_CHANNEL_2) != HAL_OK)
  {
    Error_Handler();
  }
  __HAL_TIM_DISABLE_OCxPRELOAD(&htim2, TIM_CHANNEL_2);

}

static void MX_USART1_UART_Init(void)
{

  huart1.Instance = USART1;
  huart1.Init.BaudRate = 921600;
  huart1.Init.WordLength = UART_WORDLENGTH_8B;
  huart1.Init.StopBits = UART_STOPBITS_1;
  huart1.Init.Parity = UART_PARITY_NONE;
  huart1.Init.Mode = UART_MODE_TX;
  huart1.Init.HwFlowCtl = UART_HWCONTROL_NONE;
  huart1.Init.OverSampling = UART_OVERSAMPLING_16;
  huart1.Init.OneBitSampling = UART_ONE_BIT_SAMPLE_DISABLE;
  huart1.Init.ClockPrescaler = UART_PRESCALER_DIV1;
  huart1.AdvancedInit.AdvFeatureInit = UART_ADVFEATURE_NO_INIT;
  if (HAL_HalfDuplex_Init(&huart1) != HAL_OK)
  {
    Error_Handler();
  }
  if (HAL_UARTEx_SetTxFifoThreshold(&huart1, UART_TXFIFO_THRESHOLD_1_8) != HAL_OK)
  {
    Error_Handler();
  }
  if (HAL_UARTEx_SetRxFifoThreshold(&huart1, UART_RXFIFO_THRESHOLD_1_8) != HAL_OK)
  {
    Error_Handler();
  }
  if (HAL_UARTEx_DisableFifoMode(&huart1) != HAL_OK)
  {
    Error_Handler();
  }

}

static void MX_USART3_UART_Init(void)
{

  huart3.Instance = USART3;
  huart3.Init.BaudRate = 115200;
  huart3.Init.WordLength = UART_WORDLENGTH_8B;
  huart3.Init.StopBits = UART_STOPBITS_1;
  huart3.Init.Parity = UART_PARITY_NONE;
  huart3.Init.Mode = UART_MODE_RX;
  huart3.Init.HwFlowCtl = UART_HWCONTROL_NONE;
  huart3.Init.OverSampling = UART_OVERSAMPLING_16;
  huart3.Init.OneBitSampling = UART_ONE_BIT_SAMPLE_DISABLE;
  huart3.Init.ClockPrescaler = UART_PRESCALER_DIV1;
  huart3.AdvancedInit.AdvFeatureInit = UART_ADVFEATURE_NO_INIT;
  if (HAL_UART_Init(&huart3) != HAL_OK)
  {
    Error_Handler();
  }
  if (HAL_UARTEx_SetTxFifoThreshold(&huart3, UART_TXFIFO_THRESHOLD_1_8) != HAL_OK)
  {
    Error_Handler();
  }
  if (HAL_UARTEx_SetRxFifoThreshold(&huart3, UART_RXFIFO_THRESHOLD_1_8) != HAL_OK)
  {
    Error_Handler();
  }
  if (HAL_UARTEx_DisableFifoMode(&huart3) != HAL_OK)
  {
    Error_Handler();
  }

}

static void MX_DMA_Init(void)
{

  /* DMA controller clock enable */
  __HAL_RCC_DMAMUX1_CLK_ENABLE();
  __HAL_RCC_DMA1_CLK_ENABLE();

  /* DMA interrupt init */
  /* DMA1_Channel1_IRQn interrupt configuration */
  HAL_NVIC_SetPriority(DMA1_Channel1_IRQn, 5, 0);
  HAL_NVIC_EnableIRQ(DMA1_Channel1_IRQn);
  /* DMA1_Channel2_IRQn interrupt configuration */
  HAL_NVIC_SetPriority(DMA1_Channel2_IRQn, 5, 0);
  HAL_NVIC_EnableIRQ(DMA1_Channel2_IRQn);
  /* DMA1_Channel3_IRQn interrupt configuration */
  HAL_NVIC_SetPriority(DMA1_Channel3_IRQn, 7, 0);
  HAL_NVIC_EnableIRQ(DMA1_Channel3_IRQn);
  /* DMA1_Channel4_IRQn interrupt configuration */
  HAL_NVIC_SetPriority(DMA1_Channel4_IRQn, 5, 0);
  HAL_NVIC_EnableIRQ(DMA1_Channel4_IRQn);

}

static void MX_GPIO_Init(void)
{
  GPIO_InitTypeDef GPIO_InitStruct = {0};

  /* GPIO Ports Clock Enable */
  __HAL_RCC_GPIOC_CLK_ENABLE();
  __HAL_RCC_GPIOF_CLK_ENABLE();
  __HAL_RCC_GPIOG_CLK_ENABLE();
  __HAL_RCC_GPIOA_CLK_ENABLE();
  __HAL_RCC_GPIOB_CLK_ENABLE();

  /*Configure GPIO pin Output Level */
  HAL_GPIO_WritePin(GPIOB, GPIO_DIR_Pin|GPIO_RVSOFF_Pin|GPIO_MODELSB_Pin|GPIO_NSIL_Pin, GPIO_PIN_SET);

  /*Configure GPIO pin Output Level */
  HAL_GPIO_WritePin(GPIO_LED_GPIO_Port, GPIO_LED_Pin, GPIO_PIN_RESET);

  /*Configure GPIO pin Output Level */
  HAL_GPIO_WritePin(GPIOB, GPIO_SWEN_Pin|GPIO_MODEMSB_Pin, GPIO_PIN_RESET);

  /*Configure GPIO pin : PC13 */
  GPIO_InitStruct.Pin = GPIO_PIN_13;
  GPIO_InitStruct.Mode = GPIO_MODE_IT_RISING;
  GPIO_InitStruct.Pull = GPIO_PULLDOWN;
  HAL_GPIO_Init(GPIOC, &GPIO_InitStruct);

  /*Configure GPIO pins : PC14 PC15 */
  GPIO_InitStruct.Pin = GPIO_PIN_14|GPIO_PIN_15;
  GPIO_InitStruct.Mode = GPIO_MODE_ANALOG;
  GPIO_InitStruct.Pull = GPIO_NOPULL;
  HAL_GPIO_Init(GPIOC, &GPIO_InitStruct);

  /*Configure GPIO pin : PG10 */
  GPIO_InitStruct.Pin = GPIO_PIN_10;
  GPIO_InitStruct.Mode = GPIO_MODE_ANALOG;
  GPIO_InitStruct.Pull = GPIO_NOPULL;
  HAL_GPIO_Init(GPIOG, &GPIO_InitStruct);

  /*Configure GPIO pins : PA3 PA8 PA15 */
  GPIO_InitStruct.Pin = GPIO_PIN_3|GPIO_PIN_8|GPIO_PIN_15;
  GPIO_InitStruct.Mode = GPIO_MODE_ANALOG;
  GPIO_InitStruct.Pull = GPIO_NOPULL;
  HAL_GPIO_Init(GPIOA, &GPIO_InitStruct);

  /*Configure GPIO pin : GPIO_DIR_Pin */
  GPIO_InitStruct.Pin = GPIO_DIR_Pin;
  GPIO_InitStruct.Mode = GPIO_MODE_OUTPUT_PP;
  GPIO_InitStruct.Pull = GPIO_NOPULL;
  GPIO_InitStruct.Speed = GPIO_SPEED_FREQ_HIGH;
  HAL_GPIO_Init(GPIO_DIR_GPIO_Port, &GPIO_InitStruct);

  /*Configure GPIO pins : PB2 PB12 PB15 */
  GPIO_InitStruct.Pin = GPIO_PIN_2|GPIO_PIN_12|GPIO_PIN_15;
  GPIO_InitStruct.Mode = GPIO_MODE_ANALOG;
  GPIO_InitStruct.Pull = GPIO_NOPULL;
  HAL_GPIO_Init(GPIOB, &GPIO_InitStruct);

  /*Configure GPIO pin : GPIO_LED_Pin */
  GPIO_InitStruct.Pin = GPIO_LED_Pin;
  GPIO_InitStruct.Mode = GPIO_MODE_OUTPUT_PP;
  GPIO_InitStruct.Pull = GPIO_NOPULL;
  GPIO_InitStruct.Speed = GPIO_SPEED_FREQ_LOW;
  HAL_GPIO_Init(GPIO_LED_GPIO_Port, &GPIO_InitStruct);

  /*Configure GPIO pin : GPIO_RVSOFF_Pin */
  GPIO_InitStruct.Pin = GPIO_RVSOFF_Pin;
  GPIO_InitStruct.Mode = GPIO_MODE_OUTPUT_OD;
  GPIO_InitStruct.Pull = GPIO_NOPULL;
  GPIO_InitStruct.Speed = GPIO_SPEED_FREQ_LOW;
  HAL_GPIO_Init(GPIO_RVSOFF_GPIO_Port, &GPIO_InitStruct);

  /*Configure GPIO pins : GPIO_SWEN_Pin GPIO_MODEMSB_Pin GPIO_MODELSB_Pin GPIO_NSIL_Pin */
  GPIO_InitStruct.Pin = GPIO_SWEN_Pin|GPIO_MODEMSB_Pin|GPIO_MODELSB_Pin|GPIO_NSIL_Pin;
  GPIO_InitStruct.Mode = GPIO_MODE_OUTPUT_PP;
  GPIO_InitStruct.Pull = GPIO_NOPULL;
  GPIO_InitStruct.Speed = GPIO_SPEED_FREQ_LOW;
  HAL_GPIO_Init(GPIOB, &GPIO_InitStruct);

  /* EXTI interrupt init*/
  HAL_NVIC_SetPriority(EXTI15_10_IRQn, 6, 0);
  HAL_NVIC_EnableIRQ(EXTI15_10_IRQn);

}

void StartDefaultTask(void const * argument)
{
  /* init code for USB_Device */
  MX_USB_Device_Init();
  /* USER CODE BEGIN 5 */
  AppWatchdog_SupervisorRun(argument);
  /* USER CODE END 5 */
}

void StartUsbCDCTxTask(void const * argument)
{
  /* USER CODE BEGIN StartUsbCDCTxTask */
  DbgUsb_TxTask(argument);
  /* USER CODE END StartUsbCDCTxTask */
}

void StartTelemetryTask(void const * argument)
{
  /* USER CODE BEGIN StartTelemetryTask */
  /* Infinite loop */
  static uint32_t hello_seq = 0U;
  static uint32_t last_adc_rate_ms = 0U;
  static uint32_t last_adc_seq_count = 0U;
  static uint32_t adc_seq_hz = 0U;
  char msg[640];
  for(;;)
  {
    const uint32_t now_ms = HAL_GetTick();
    if (last_adc_rate_ms == 0U)
    {
      last_adc_rate_ms = now_ms;
      last_adc_seq_count = g_adc_seq_count;
    }
    else
    {
      const uint32_t dt_ms = (uint32_t)(now_ms - last_adc_rate_ms);
      if (dt_ms >= 1000U)
      {
        const uint32_t seq_count_now = g_adc_seq_count;
        const uint32_t dseq = (uint32_t)(seq_count_now - last_adc_seq_count);
        if (dt_ms != 0U)
        {
          adc_seq_hz = (uint32_t)((dseq * 1000U + (dt_ms / 2U)) / dt_ms);
        }
        last_adc_rate_ms = now_ms;
        last_adc_seq_count = seq_count_now;
      }
    }
    g_adc_seq_hz = adc_seq_hz;
    g_telemetry_seq = hello_seq;

    /* T1 is a diagnostic snapshot. Values are deliberately sampled from the
     * existing DMA/register/shared-state snapshots without changing control. */
    const uint16_t adc_vcap = g_adc1_dma_buf[0] & 0x0FFFu;
    const uint16_t adc_vbus = g_adc1_dma_buf[1] & 0x0FFFu;
    const uint16_t adc_iload = g_adc2_dma_buf[0] & 0x0FFFu;
    const uint16_t adc_iop = g_adc2_dma_buf[1] & 0x0FFFu;
    const uint16_t adc_ion = g_adc2_dma_buf[2] & 0x0FFFu;
    const float v_bus = g_latest.v_bus;
    const float v_cap = g_latest.v_cap;
    const float i_load = g_latest.i_load;
    const float i_out_p = g_latest.i_out_p;
    const float i_out_n = g_latest.i_out_n;
    const float i_out = g_latest.i_out;
    const float i_conv = g_latest.i_conv;
    const int32_t cap_energy_mj = g_cap_energy_mj;
    can_command_state_t can_command;
    uart_command_state_t uart_command;
    manual_command_state_t manual_command;
    pushbutton_command_state_t pushbutton_command;
    control_status_t control_status;
    capacitor_monitor_status_t cap_monitor_status;
    CanProtocol_ReadCommandSnapshot(&can_command);
    CommandInputs_ReadUartSnapshot(&uart_command);
    CommandInputs_ReadManualSnapshot(&manual_command);
    CommandInputs_ReadPushbuttonSnapshot(&pushbutton_command);
    ScapIo_ReadStatus(&control_status);
    CapacitorMonitor_ReadStatus(&cap_monitor_status);
    DbgUsbStats dbg_stats;
    DbgUsb_GetStats(&dbg_stats);
    const uint32_t can_tx_enqueue_failures = TelemetrySlowAdcTask_GetCanTxEnqueueFailureCount();

    const uint32_t can_valid = can_command.can_cmd_timestamp != 0u ? 1u : 0u;
    const uint32_t can_bus_up = CanProtocol_IsBusActive(now_ms) ? 1u : 0u;
    const uint32_t uart_swen_req = (control_status.uart_power_fresh &&
                                    control_status.uart_energy_fresh) ? 1u : 0u;
    const int32_t v_bus_mV = (int32_t)(v_bus * 1000.0f);
    const int32_t v_cap_mV = (int32_t)(v_cap * 1000.0f);
    const int32_t i_load_mA = (int32_t)(i_load * 1000.0f);
    const int32_t i_out_p_mA = (int32_t)(i_out_p * 1000.0f);
    const int32_t i_out_n_mA = (int32_t)(i_out_n * 1000.0f);
    const int32_t i_out_mA = (int32_t)(i_out * 1000.0f);
    const int32_t i_conv_mA = (int32_t)(i_conv * 1000.0f);
    const int32_t pset_w = (int32_t)g_latest.p_set;
    const int32_t vcap_max_mV = (int32_t)(cap_monitor_status.vcap_max_v * 1000.0f + 0.5f);
    const uint32_t swen_out = HAL_GPIO_ReadPin(GPIOB, GPIO_SWEN_Pin) != GPIO_PIN_RESET ? 1u : 0u;
    const uint32_t dir_out = HAL_GPIO_ReadPin(GPIOB, GPIO_DIR_Pin) != GPIO_PIN_RESET ? 1u : 0u;
    const uint32_t mode_out =
        (HAL_GPIO_ReadPin(GPIOB, GPIO_MODEMSB_Pin) != GPIO_PIN_RESET ? 2u : 0u) |
        (HAL_GPIO_ReadPin(GPIOB, GPIO_MODELSB_Pin) != GPIO_PIN_RESET ? 1u : 0u);
    const uint32_t rvsoff_out = HAL_GPIO_ReadPin(GPIOB, GPIO_RVSOFF_Pin) != GPIO_PIN_RESET ? 1u : 0u;
    const uint32_t nsil_out = HAL_GPIO_ReadPin(GPIOB, GPIO_NSIL_Pin) != GPIO_PIN_RESET ? 1u : 0u;
    const uint32_t led_out = HAL_GPIO_ReadPin(GPIO_LED_GPIO_Port, GPIO_LED_Pin) != GPIO_PIN_RESET ? 1u : 0u;
    const uint32_t btn_in = HAL_GPIO_ReadPin(GPIOC, GPIO_PIN_13) != GPIO_PIN_RESET ? 1u : 0u;
    const uint32_t dac1_ch1 = HAL_DAC_GetValue(&hdac1, DAC_CHANNEL_1) & 0x0FFFu;
    const uint32_t dac1_ch2 = HAL_DAC_GetValue(&hdac1, DAC_CHANNEL_2) & 0x0FFFu;
    const uint32_t dac3_ch1 = HAL_DAC_GetValue(&hdac3, DAC_CHANNEL_1) & 0x0FFFu;
    const uint32_t dac3_ch2 = HAL_DAC_GetValue(&hdac3, DAC_CHANNEL_2) & 0x0FFFu;
    int len = snprintf(msg,
                       sizeof(msg),
                       "T1,%lu,%lu,%lu,%lu,%lu,%u,%u,%u,%u,%u,%ld,%ld,%ld,%ld,%ld,%ld,%ld,%ld,%lu,%lu,%lu,%lu,%lu,%lu,%lu,%lu,%lu,%lu,%lu,%u,%u,%u,%u,%u,%u,%u,%u,%lu,%u,%u,%u,%u,%u,%u,%u,%u,%u,%u,%u,%u,%u,%u,%u,%u,%u,%d,%u,%u,%u,%u,%u,%ld,%ld,%u,%u,%u,%ld,%ld,%lu\r\n",
                       (unsigned long)hello_seq++,
                       (unsigned long)adc_seq_hz,
                       (unsigned long)dbg_stats.telemetry_records_dropped,
                       (unsigned long)g_dma1_ch1_irq_cycles_last,
                       (unsigned long)g_dma1_ch1_irq_cycles_max,
                       (unsigned)adc_vcap,
                       (unsigned)adc_vbus,
                       (unsigned)adc_iload,
                       (unsigned)adc_iop,
                       (unsigned)adc_ion,
                       (long)v_cap_mV,
                       (long)v_bus_mV,
                       (long)i_load_mA,
                       (long)i_out_p_mA,
                       (long)i_out_n_mA,
                       (long)i_out_mA,
                       (long)i_conv_mA,
                       (long)pset_w,
                       (unsigned long)btn_in,
                       (unsigned long)dir_out,
                       (unsigned long)swen_out,
                       (unsigned long)mode_out,
                       (unsigned long)rvsoff_out,
                       (unsigned long)nsil_out,
                       (unsigned long)led_out,
                       (unsigned long)dac1_ch1,
                       (unsigned long)dac1_ch2,
                       (unsigned long)dac3_ch1,
                       (unsigned long)dac3_ch2,
                       (unsigned)control_status.mode_request,
                       (unsigned)control_status.decision,
                       control_status.swen_request ? 1u : 0u,
                       g_is_safe ? 1u : 0u,
                       control_status.uvlo_lockout ? 1u : 0u,
                       control_status.fault_latched ? 1u : 0u,
                       (unsigned)control_status.fault_bits,
                       (unsigned)control_status.fault_healthy_ms,
                       (unsigned long)can_bus_up,
                       (unsigned)can_command.can_power,
                       (unsigned)can_valid,
                       control_status.can_fresh ? 1u : 0u,
                       (unsigned)can_command.can_energy,
                       (can_valid != 0u && !can_command.can_energy_disabled) ? 1u : 0u,
                       control_status.can_fresh ? 1u : 0u,
                       can_command.can_energy_disabled ? 1u : 0u,
                       can_command.can_swen ? 1u : 0u,
                       (unsigned)can_valid,
                       control_status.can_fresh ? 1u : 0u,
                       (unsigned)uart_command.power_w.value,
                       uart_command.power_w.present ? 1u : 0u,
                       control_status.uart_power_fresh ? 1u : 0u,
                       (unsigned)uart_command.energy_j.value,
                       uart_command.energy_j.present ? 1u : 0u,
                       control_status.uart_energy_fresh ? 1u : 0u,
                       (unsigned)uart_swen_req,
                       (int)manual_command.power_w.value,
                       manual_command.power_w.present ? 1u : 0u,
                       manual_command.swen.value ? 1u : 0u,
                       manual_command.swen.present ? 1u : 0u,
                       pushbutton_command.swen.value ? 1u : 0u,
                       pushbutton_command.swen.present ? 1u : 0u,
                       (long)cap_energy_mj,
                       (long)vcap_max_mV,
                       cap_monitor_status.unhealthy_latched ? 1u : 0u,
                       (unsigned)cap_monitor_status.bad_window_count,
                       (unsigned)cap_monitor_status.derate_count,
                       (long)cap_monitor_status.last_energy_gain_mj,
                       (long)cap_monitor_status.last_vcap_gain_mv,
                       (unsigned long)can_tx_enqueue_failures);
    if (len > 0)
    {
      size_t msg_len = (size_t)len;
      if (msg_len >= sizeof(msg))
      {
        msg[sizeof(msg) - 3U] = '\r';
        msg[sizeof(msg) - 2U] = '\n';
        msg[sizeof(msg) - 1U] = '\0';
        msg_len = sizeof(msg) - 1U;
      }
      (void)TelemetryUart_TryWrite((const uint8_t *)msg, (uint16_t)msg_len);
      if (g_usb_telemetry_enabled)
      {
        (void)dbg_try_write((const uint8_t *)msg, (uint16_t)msg_len);
      }
    }
    AppWatchdog_Heartbeat(APP_WATCHDOG_TASK_TELEMETRY);
    osDelay(10);
  }
  /* USER CODE END StartTelemetryTask */
}

void StartSlowAdcTask(void const * argument)
{
  /* USER CODE BEGIN StartSlowAdcTask */
  TelemetrySlowAdcTask_Run(argument);

  for (;;)
  {
    osDelay(1000);
  }
  /* USER CODE END StartSlowAdcTask */
}

void StartCliTask(void const * argument)
{
  /* USER CODE BEGIN StartCliTask */
  UsbCli_Task(argument);
  /* USER CODE END StartCliTask */
}

void StartUartParsingTask(void const * argument)
{
  /* USER CODE BEGIN StartUartParsingTask */
  (void)argument;
  RefereeUart_Task(&huart3);
  /* USER CODE END StartUartParsingTask */
}

void HAL_TIM_PeriodElapsedCallback(TIM_HandleTypeDef *htim)
{
  if (htim->Instance == TIM1)
  {
    HAL_IncTick();
  }
}

void Error_Handler(void)
{
  __disable_irq();
  while (1)
  {
  }
}

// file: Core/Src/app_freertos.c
/* USER CODE BEGIN Header */
/**
  ******************************************************************************
  * File Name          : app_freertos.c
  * Description        : Code for freertos applications
  ******************************************************************************
  * @attention
  *
  * Copyright (c) 2026 STMicroelectronics.
  * All rights reserved.
  *
  * This software is licensed under terms that can be found in the LICENSE file
  * in the root directory of this software component.
  * If no LICENSE file comes with this software, it is provided AS-IS.
  *
  ******************************************************************************
  */
/* USER CODE END Header */

#include "FreeRTOS.h"
#include "task.h"
#include "main.h"

/* GetIdleTaskMemory prototype (linked to static allocation support) */
void vApplicationGetIdleTaskMemory( StaticTask_t **ppxIdleTaskTCBBuffer, StackType_t **ppxIdleTaskStackBuffer, uint32_t *pulIdleTaskStackSize );

/* USER CODE BEGIN GET_IDLE_TASK_MEMORY */
static StaticTask_t xIdleTaskTCBBuffer;
static StackType_t xIdleStack[configMINIMAL_STACK_SIZE];

void vApplicationGetIdleTaskMemory( StaticTask_t **ppxIdleTaskTCBBuffer, StackType_t **ppxIdleTaskStackBuffer, uint32_t *pulIdleTaskStackSize )
{
  *ppxIdleTaskTCBBuffer = &xIdleTaskTCBBuffer;
  *ppxIdleTaskStackBuffer = &xIdleStack[0];
  *pulIdleTaskStackSize = configMINIMAL_STACK_SIZE;
  /* place for user code */
}
/* USER CODE END GET_IDLE_TASK_MEMORY */
